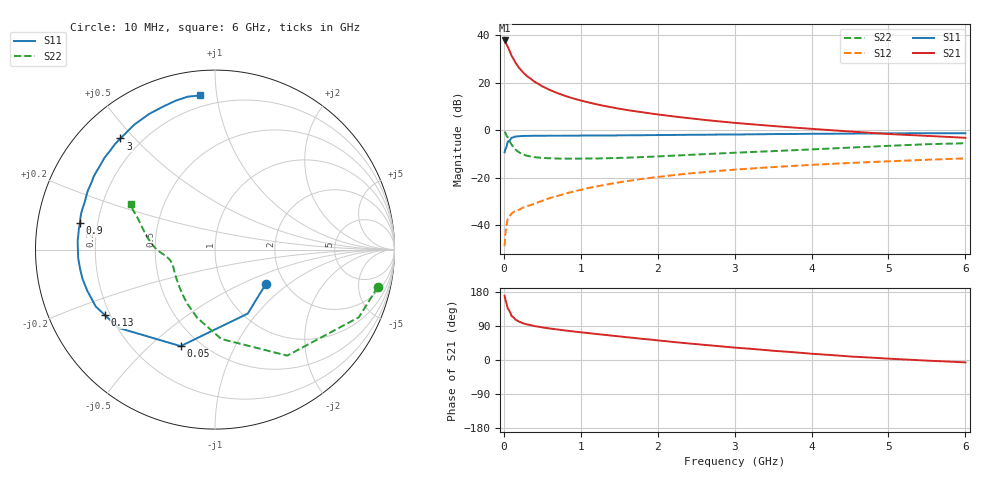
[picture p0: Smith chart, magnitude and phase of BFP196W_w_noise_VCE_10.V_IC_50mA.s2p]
! Infineon Technologies  Discrete & RF Semiconductors
! BFP196W
! VCE =  10. V,  IC =  50 mA
! Common Emitter S-Parameters:  Jan 2017
# GHz  S  MA  R  50
!  f  S11  S21  S12  S22
! GHz  MAG  ANG  MAG  ANG  MAG  ANG  MAG  ANG
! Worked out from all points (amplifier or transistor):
!   77 points, 10 MHz to 6 GHz, reference 50 ohm
!   highest |S21| = 37.8 dB at 10 MHz (marker M1)
!   |S21| within 3 dB of that: start of sweep to 55.57 MHz
!   unconditionally stable (mu >= 1): 693.1 MHz to 3.26 GHz
!   at 130 MHz: K = 0.39, MSG = 32.1 dB, |S12| = -34.4 dB
!   at 2.2 GHz: K = 1.04, MAG = 11.1 dB, |S12| = -19.0 dB
!   at 6 GHz: K = 0.92, MSG = 4.3 dB, |S12| = -11.9 dB
!   lowest NFmin = 1.36 dB at 450 MHz
!   S11 on the Smith chart (normalised r, x): 10 MHz: 1.61, -0.69; 50 MHz: 0.39, -0.63; 130 MHz: 0.18, -0.27; 900 MHz: 0.13, +0.09; 3 GHz: 0.12, +0.46; 6 GHz: 0.13, +0.90
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0.01  0.3418 -33.9  77.88 169.6  0.0036 76.5  0.9302 -13.0
0.02  0.4006 -62.9  73.69 159.2  0.0066 71.8  0.8857 -25.2
0.05  0.571 -109.6  57.66 136.3  0.0134 53.2  0.7149 -55.7
0.1  0.6926 -141.0  37.27 116.4  0.0175 42.6  0.4993 -86.0
0.13  0.7139 -149.3  30.75 111.5  0.019 40.6  0.4294 -96.1
0.15  0.736 -154.5  26.58 106.9  0.02 39.4  0.3924 -104.7
0.2  0.7478 -162.2  20.39 101.0  0.0211 41.4  0.3398 -116.8
0.25  0.7558 -167.4  16.51 96.9  0.0235 43.4  0.3081 -126.0
0.3  0.7588 -171.1  13.82 94.0  0.0249 45.6  0.2896 -132.8
0.4  0.7638 -176.5  10.48 89.4  0.0283 49.1  0.27 -142.2
0.5  0.7639 179.7  8.398 86.0  0.0326 53.4  0.2609 -148.4
0.6  0.7669 176.6  7.026 83.0  0.0373 55.4  0.256 -152.9
0.7  0.766 173.8  6.016 80.5  0.0412 58.0  0.2525 -156.2
0.9  0.7667 169.0  4.68 75.5  0.0507 60.2  0.2521 -160.4
1.1  0.7726 164.5  3.851 71.0  0.0606 60.9  0.2534 -163.6
1.5  0.7782 156.6  2.837 62.3  0.0797 60.5  0.2609 -168.4
2.1  0.7917 145.2  2.053 49.8  0.1079 57.6  0.2853 -174.1
3  0.8132 130.4  1.429 32.7  0.1474 50.5  0.3353 178.1
3.1  0.8152 128.9  1.386 31.2  0.1513 49.7  0.3406 177.1
4.1  0.841 114.7  1.042 15.2  0.1895 41.7  0.4008 166.7
5.1  0.8592 103.8  0.817 2.5  0.2243 33.8  0.4758 156.8
6  0.863 95.4  0.692 -6.3  0.2549 26.9  0.5317 151.7
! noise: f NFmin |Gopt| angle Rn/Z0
0.45  1.36  0.51  -177  0.05
0.9  1.48  0.55  -171  0.07
1.9  2.3  0.69  -149  0.16
2.4  2.7  0.73  -144  0.26
